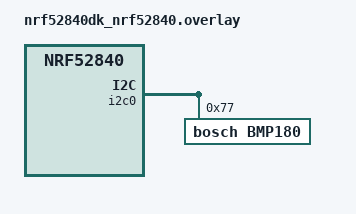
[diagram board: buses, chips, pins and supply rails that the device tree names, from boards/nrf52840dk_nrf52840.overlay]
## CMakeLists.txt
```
# SPDX-License-Identifier: Apache-2.0

cmake_minimum_required(VERSION 3.20.0)

    set(BOARD_FLASH_RUNNER nrfutil)
find_package(Zephyr REQUIRED HINTS $ENV{ZEPHYR_BASE})
project(bmp180)

target_sources(app PRIVATE
    src/main.c
)
```

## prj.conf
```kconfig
CONFIG_I2C=y
CONFIG_SENSOR=y
CONFIG_SERIAL=y
CONFIG_CONSOLE=y
CONFIG_UART_CONSOLE=y
CONFIG_PRINTK=y
```

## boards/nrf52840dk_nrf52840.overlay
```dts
&i2c0 {
    status = "okay";
    
    bmp180: bmp180@77 {
        compatible = "bosch,bmp180";
        reg = <0x77>;
        osr-press = <3>;
    };
};
```

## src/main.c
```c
#include <zephyr/kernel.h>
#include <zephyr/device.h>
#include <zephyr/drivers/i2c.h>
#include <zephyr/sys/printk.h>

const struct device *i2c_dev = DEVICE_DT_GET(DT_NODELABEL(i2c0));
uint8_t address = 0x77;

typedef struct {
    int16_t  ac1;
    int16_t  ac2;
    int16_t  ac3;
    uint16_t ac4;
    uint16_t ac5;
    uint16_t ac6;
    int16_t  b1;
    int16_t  b2;
    int16_t  mb;
    int16_t  mc;
    int16_t  md;
} bmp180_calib_t;

static bmp180_calib_t calib_data;

void bmp_init()
{
    uint8_t calib_reg = 0xAA;
    uint8_t calib_read[22]; 
    
    i2c_write_read(i2c_dev, address, &calib_reg, 1, calib_read, 22);

    calib_data.ac1 = (calib_read[0 ] << 8) | calib_read[1 ];
    calib_data.ac2 = (calib_read[2 ] << 8) | calib_read[3 ];
    calib_data.ac3 = (calib_read[4 ] << 8) | calib_read[5 ];
    calib_data.ac4 = (calib_read[6 ] << 8) | calib_read[7 ];
    calib_data.ac5 = (calib_read[8 ] << 8) | calib_read[9 ];
    calib_data.ac6 = (calib_read[10] << 8) | calib_read[11];
    calib_data.b1  = (calib_read[12] << 8) | calib_read[13];
    calib_data.b2  = (calib_read[14] << 8) | calib_read[15];
    calib_data.mb  = (calib_read[16] << 8) | calib_read[17];
    calib_data.mc  = (calib_read[18] << 8) | calib_read[19];
    calib_data.md  = (calib_read[20] << 8) | calib_read[21];
    
    printk("BMP180 Calibration Data Loaded Successfully.\n");
}


void read_temperature()
{
    // read uncompressed temperature value
    uint8_t reg_addr = 0xF4;
    uint8_t command = 0x2E;
    uint8_t buffer[2] = {reg_addr, command};
    i2c_write(i2c_dev, buffer, 2, address);
    
    // wait for temp readout
    k_msleep(5);
    
    uint8_t ut_reg = 0xF6;
    uint8_t ut_buffer[2];
    i2c_write_read(i2c_dev, address, &ut_reg, 1, ut_buffer, 2);


    int32_t UT = (int32_t)((ut_buffer[0] << 8) | ut_buffer[1]);
    // printk("UT: 0x%08X\n", UT);

    int32_t X1, X2, B5, T;
    X1 = (UT - (int32_t)calib_data.ac6) * (int32_t)calib_data.ac5 / (1 << 15);
    X2 = ((int32_t)calib_data.mc * (1 << 11)) / (X1 + (int32_t)calib_data.md);
    B5 = X1 + X2;
    T = (B5 + 8) / (1 << 4);

    printk("Temperature: %d.%d C\n", T / 10, T % 10);
}

int main(void)
{
    if (!device_is_ready(i2c_dev)) {
        printk("Cannot init I2C\n");
        return 0;
    }

    // Send empty packet to address / ping
    uint8_t data = 0;
    if (i2c_write(i2c_dev, &data, 0, address) == 0) {
        printk("Device found at : 0x%02X\n", address);
    }
    
    //read_calibration();
    bmp_init();
    read_temperature();
    
    return 0;
}
```

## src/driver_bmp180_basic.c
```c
#include "driver_bmp180_basic.h"
#include "driver_bmp180.h"

#include <zephyr/device.h>
#include <zephyr/drivers/i2c.h>
#include <zephyr/sys/printk.h>
#include <zephyr/kernel.h>
#include <stdarg.h>
#include <string.h>

static bmp180_handle_t bmp_handle;
static const struct device *i2c_dev = DEVICE_DT_GET(DT_NODELABEL(i2c0));

void bmp180_interface_delay_ms(uint32_t ms)
{
    k_msleep(ms);
}

void bmp180_interface_debug_print(const char *fmt, ...)
{
    va_list args;
    va_start(args, fmt);
    vprintk(fmt, args);
    va_end(args);
}

static uint8_t basic_iic_init(void)
{
    if (!device_is_ready(i2c_dev)) {
        return 1;
    }
    return 0;
}

static uint8_t basic_iic_deinit(void)
{
    /* nothing to do for Zephyr device */
    return 0;
}

static uint8_t basic_iic_read(uint8_t addr, uint8_t reg, uint8_t *buf, uint16_t len)
{
    uint16_t addr7 = (uint16_t)(addr >> 1);
    int rc = i2c_write_read(i2c_dev, addr7, &reg, 1, buf, len);
    return rc == 0 ? 0 : 1;
}

static uint8_t basic_iic_write(uint8_t addr, uint8_t reg, uint8_t *buf, uint16_t len)
{
    uint16_t addr7 = (uint16_t)(addr >> 1);
    uint8_t tmp[64];
    if (len + 1 > sizeof(tmp)) {
        return 1;
    }
    tmp[0] = reg;
    memcpy(&tmp[1], buf, len);
    int rc = i2c_write(i2c_dev, tmp, len + 1, addr7);
    return rc == 0 ? 0 : 1;
}

uint8_t bmp180_basic_init(void)
{
    DRIVER_BMP180_LINK_INIT(&bmp_handle, bmp180_handle_t);
    DRIVER_BMP180_LINK_IIC_INIT(&bmp_handle, basic_iic_init);
    DRIVER_BMP180_LINK_IIC_DEINIT(&bmp_handle, basic_iic_deinit);
    DRIVER_BMP180_LINK_IIC_READ(&bmp_handle, basic_iic_read);
    DRIVER_BMP180_LINK_IIC_WRITE(&bmp_handle, basic_iic_write);
    DRIVER_BMP180_LINK_DELAY_MS(&bmp_handle, bmp180_interface_delay_ms);
    DRIVER_BMP180_LINK_DEBUG_PRINT(&bmp_handle, bmp180_interface_debug_print);

    return bmp180_init(&bmp_handle);
}

uint8_t bmp180_basic_deinit(void)
{
    return bmp180_deinit(&bmp_handle);
}

uint8_t bmp180_basic_read(float *temperature, uint32_t *pressure)
{
    uint16_t temp_raw = 0;
    uint32_t pressure_raw = 0;
    float temp_c = 0.0f;
    uint8_t res = bmp180_read_temperature_pressure(&bmp_handle, &temp_raw, &temp_c, &pressure_raw, pressure);
    if (res != 0) return res;
    if (temperature) *temperature = temp_c;
    return 0;
}
```

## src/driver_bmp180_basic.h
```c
#ifndef DRIVER_BMP180_BASIC_H
#define DRIVER_BMP180_BASIC_H

#include <stdint.h>

#ifdef __cplusplus
extern "C" {
#endif

/**
 * Initialize basic bmp180 driver.
 * Returns 0 on success.
 */
uint8_t bmp180_basic_init(void);

/**
 * Deinitialize basic bmp180 driver.
 */
uint8_t bmp180_basic_deinit(void);

/**
 * Read temperature (C) and pressure (Pa).
 * temperature: pointer to float
 * pressure: pointer to uint32_t
 */
uint8_t bmp180_basic_read(float *temperature, uint32_t *pressure);

/* helper exports used in example snippet */
void bmp180_interface_delay_ms(uint32_t ms);
void bmp180_interface_debug_print(const char *fmt, ...);

#ifdef __cplusplus
}
#endif

#endif
```
